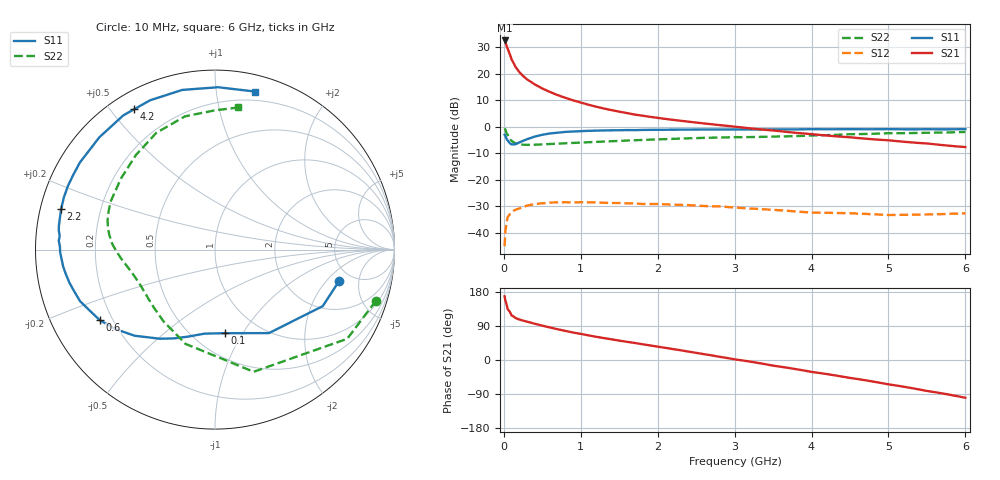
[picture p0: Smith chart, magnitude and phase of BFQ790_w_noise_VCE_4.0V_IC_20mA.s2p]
! (c) 2015  Infineon Technologies AG, Munich
! Infineon Technologies  Discrete & RF Semiconductors
! BFQ790
! VCE =  4.0 V,  IC =  20 mA
! Common Emitter S-Parameters:  May 2015
# GHz  S  MA  R  50
!  f  S11  S21  S12  S22
! GHz  MAG  ANG  MAG  ANG  MAG  ANG  MAG  ANG
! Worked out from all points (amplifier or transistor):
!   77 points, 10 MHz to 6 GHz, reference 50 ohm
!   highest |S21| = 32.6 dB at 10 MHz (marker M1)
!   |S21| within 3 dB of that: start of sweep to 48.36 MHz
!   unconditionally stable (mu >= 1): 2.093 GHz to end of sweep
!   at 130 MHz: K = 0.68, MSG = 27.8 dB, |S12| = -31.6 dB
!   at 2.2 GHz: K = 1.01, MAG = 15.3 dB, |S12| = -29.4 dB
!   at 6 GHz: K = 2.63, MAG = 5.5 dB, |S12| = -32.7 dB
!   lowest NFmin = 2.10 dB at 900 MHz
!   S11 on the Smith chart (normalised r, x): 10 MHz: 3.86, -2.78; 100 MHz: 0.70, -0.84; 600 MHz: 0.15, -0.28; 2.2 GHz: 0.06, +0.13; 4.2 GHz: 0.07, +0.58; 6 GHz: 0.13, +1.27
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0.01  0.7124 -14.4  42.88 168.0  0.0056 71.0  0.9404 -17.7
0.02  0.6779 -27.7  40.42 156.8  0.0107 62.1  0.8888 -34.0
0.05  0.554 -57.1  29.91 134.0  0.0199 43.3  0.714 -72.4
0.1  0.4691 -83.1  18.86 117.7  0.0248 28.2  0.5503 -107.4
0.15  0.4718 -97.1  13.69 111.0  0.0272 23.2  0.4922 -125.6
0.2  0.508 -107.3  10.91 106.9  0.0288 21.8  0.4696 -136.3
0.25  0.546 -115.0  9.152 104.0  0.0306 18.1  0.4612 -143.4
0.3  0.5848 -121.9  7.918 101.1  0.0326 15.7  0.4585 -148.4
0.4  0.6562 -133.0  6.361 95.7  0.0349 11.0  0.4612 -155.1
0.5  0.7103 -141.5  5.312 90.6  0.0361 6.4  0.468 -159.5
0.6  0.7527 -148.5  4.568 85.8  0.0373 2.9  0.4756 -162.8
0.7  0.7777 -154.3  3.983 81.1  0.0375 -0.3  0.4832 -165.3
0.8  0.805 -159.1  3.545 76.8  0.0379 -5.0  0.4908 -167.4
1.1  0.8426 -170.8  2.624 65.0  0.0376 -13.2  0.5139 -172.5
1.5  0.8643 178.8  1.939 51.2  0.0366 -22.4  0.5437 -178.1
2.1  0.8832 167.2  1.417 32.1  0.0345 -33.7  0.5878 173.5
2.2  0.8864 165.2  1.358 28.8  0.034 -35.9  0.595 172.0
3.1  0.8934 144.9  0.974 -1.1  0.0294 -51.3  0.641 152.8
4.1  0.9034 122.1  0.708 -34.2  0.024 -59.9  0.6921 127.1
4.2  0.9024 120.0  0.687 -37.2  0.0239 -60.1  0.6988 124.4
5.1  0.904 99.1  0.541 -67.3  0.0218 -64.2  0.7609 100.2
6  0.9081 75.9  0.417 -99.7  0.0233 -67.8  0.8024 80.8
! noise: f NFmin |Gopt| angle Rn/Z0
0.45  2.24  0.33  90  0.34
0.9  2.1  0.48  148  0.15
1.5  2.45  0.66  178  0.07
1.8  2.81  0.7  -175  0.07
2.6  3.89  0.76  -156  0.23
3.5  4.75  0.88  -138  0.78
